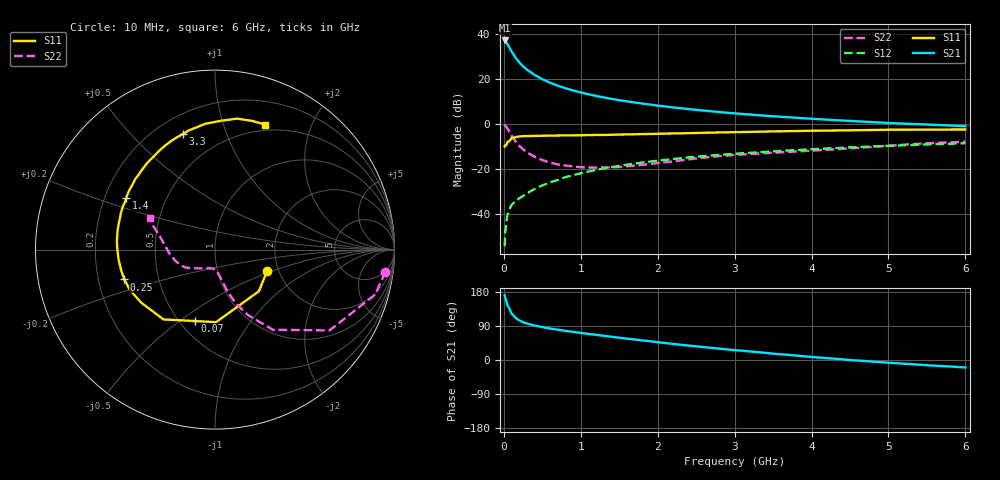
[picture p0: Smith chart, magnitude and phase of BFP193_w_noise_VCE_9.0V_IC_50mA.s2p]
! Infineon Technologies  Discrete & RF Semiconductors
! BFP193
! VCE =  9.0 V,  IC =  50 mA
! Common Emitter S-Parameters:  Jan 2017
# GHz  S  MA  R  50
!  f  S11  S21  S12  S22
! GHz  MAG  ANG  MAG  ANG  MAG  ANG  MAG  ANG
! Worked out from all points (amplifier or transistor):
!   77 points, 10 MHz to 6 GHz, reference 50 ohm
!   highest |S21| = 37.1 dB at 10 MHz (marker M1)
!   |S21| within 3 dB of that: start of sweep to 69.73 MHz
!   unconditionally stable (mu >= 1): 614.6 MHz to 2.417 GHz
!   at 130 MHz: K = 0.57, MSG = 32.9 dB, |S12| = -35.1 dB
!   at 2.2 GHz: K = 1.01, MAG = 10.9 dB, |S12| = -15.6 dB
!   at 6 GHz: K = 0.91, MSG = 3.8 dB, |S12| = -8.6 dB
!   lowest NFmin = 1.52 dB at 450 MHz
!   S11 on the Smith chart (normalised r, x): 10 MHz: 1.75, -0.46; 70 MHz: 0.60, -0.57; 250 MHz: 0.31, -0.14; 1.4 GHz: 0.29, +0.25; 3.3 GHz: 0.31, +0.71; 6 GHz: 0.44, +1.39
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0.01  0.3139 -22.0  71.72 170.9  0.0019 84.1  0.9574 -7.5
0.02  0.337 -43.5  70.14 163.1  0.0042 84.9  0.9268 -15.7
0.05  0.4041 -89.1  58.35 142.8  0.0097 67.0  0.7809 -35.2
0.07  0.4132 -105.6  50.67 136.3  0.0121 62.7  0.6811 -41.2
0.1  0.4834 -126.4  40.91 122.4  0.0157 58.8  0.5517 -54.1
0.15  0.5065 -144.3  29.97 111.5  0.0189 58.0  0.4097 -63.2
0.2  0.5243 -154.5  23.39 104.7  0.0221 58.6  0.3259 -68.6
0.25  0.5321 -161.8  19.08 99.7  0.025 61.1  0.2713 -71.5
0.3  0.535 -166.9  16.06 96.3  0.0281 62.9  0.2317 -73.9
0.4  0.5403 -174.2  12.23 90.8  0.0356 66.0  0.1847 -76.8
0.5  0.5439 -179.9  9.839 86.7  0.0428 66.8  0.1568 -79.3
0.6  0.5481 175.7  8.254 83.1  0.05 67.2  0.1381 -81.9
0.7  0.5505 171.9  7.087 80.1  0.0564 67.5  0.1251 -83.9
0.9  0.5554 164.8  5.527 74.2  0.0724 67.2  0.1135 -89.6
1.1  0.5631 158.4  4.556 69.0  0.0869 66.0  0.1074 -95.4
1.4  0.5719 149.7  3.606 61.3  0.1088 63.1  0.1077 -106.8
2.1  0.6062 130.7  2.435 44.8  0.1586 55.3  0.14 -131.8
3.1  0.6589 109.3  1.662 24.4  0.2215 43.1  0.2084 -155.7
3.3  0.6684 105.7  1.565 20.8  0.233 40.8  0.218 -159.8
4.1  0.7054 92.9  1.272 6.5  0.2779 31.6  0.2593 -177.3
5.1  0.7406 79.1  1.03 -8.4  0.3294 20.1  0.3345 163.4
6  0.7502 68.0  0.889 -19.7  0.3707 10.1  0.3995 154.2
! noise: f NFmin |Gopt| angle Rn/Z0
0.45  1.52  0.43  -170  0.08
0.9  1.57  0.45  -164  0.09
1.9  2.2  0.61  -132  0.23
2.4  2.55  0.64  -119  0.48
